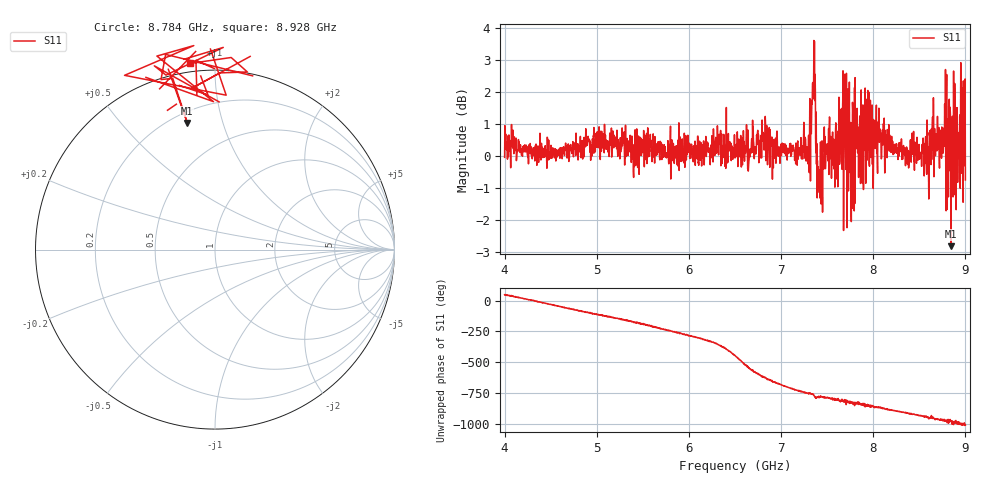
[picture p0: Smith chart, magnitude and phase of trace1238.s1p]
! Created with skrf 1.8.0 (http://scikit-rf.org).
# Hz S RI R 50.0
!freq ReS11 ImS11
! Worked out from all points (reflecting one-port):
!   1601 points, 4 GHz to 9 GHz, reference 50 ohm
!   lowest |S11| = -2.8 dB at 8.844 GHz (marker M1), VSWR 6.20, Z = 13.1 + j38.6 ohm
!   phase of S11 starts at 49 deg and turns -1057 deg over the sweep
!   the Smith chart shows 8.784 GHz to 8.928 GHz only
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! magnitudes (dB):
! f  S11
! 4 GHz  0.0
! 4.625 GHz  -0.1
! 5.25 GHz  -0.1
! 5.875 GHz  0.3
! 6.5 GHz  -0.1
! 6.662 GHz  0.0
! 6.806 GHz  0.7
! 6.925 GHz  0.3
! 7.125 GHz  0.1
! 7.294 GHz  -0.1
! 7.347 GHz  1.8
! 7.366 GHz  1.7
! 7.4 GHz  -0.3
! 7.416 GHz  -0.5
! 7.512 GHz  0.0
! 7.591 GHz  0.8
! 7.647 GHz  1.3
! 7.75 GHz  -0.1
! 7.769 GHz  -1.0
! 7.8 GHz  -1.5
! 7.928 GHz  1.0
! 8.375 GHz  -0.3
! 8.603 GHz  -1.4
! 8.656 GHz  0.8
! 8.759 GHz  0.1
! 8.844 GHz  -2.8
! 8.972 GHz  0.6
! 9 GHz  -0.8
